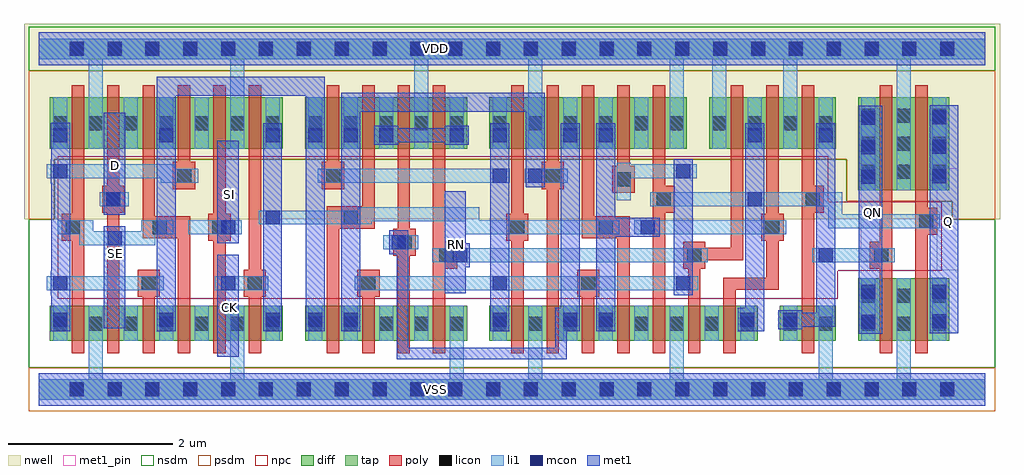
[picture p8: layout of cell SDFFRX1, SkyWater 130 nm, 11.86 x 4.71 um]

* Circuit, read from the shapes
.subckt SDFFRX1 CK D Q QN RN SE SI VDD VSS
XM1 VSS SE n1 VSS sky130_fd_pr__nfet_01v8 w=0.425 l=0.15
XM2 n2 D VSS VSS sky130_fd_pr__nfet_01v8 w=0.425 l=0.15
XM3 n3 n1 n2 VSS sky130_fd_pr__nfet_01v8 w=0.425 l=0.15
XM4 n4 SE n3 VSS sky130_fd_pr__nfet_01v8 w=0.425 l=0.15
XM5 VSS SI n4 VSS sky130_fd_pr__nfet_01v8 w=0.425 l=0.15
XM6 n5 CK VSS VSS sky130_fd_pr__nfet_01v8 w=0.425 l=0.15
XM7 n6 n5 n3 VSS sky130_fd_pr__nfet_01v8 w=0.425 l=0.15
XM8 n7 n8 n6 VSS sky130_fd_pr__nfet_01v8 w=0.425 l=0.15
XM9 n9 n10 n7 VSS sky130_fd_pr__nfet_01v8 w=0.425 l=0.15
XM10 VSS RN n9 VSS sky130_fd_pr__nfet_01v8 w=0.425 l=0.15
XM11 VSS n5 n8 VSS sky130_fd_pr__nfet_01v8 w=0.425 l=0.15
XM12 n10 n6 VSS VSS sky130_fd_pr__nfet_01v8 w=0.425 l=0.15
XM13 n11 n8 n10 VSS sky130_fd_pr__nfet_01v8 w=0.425 l=0.15
XM14 n12 n5 n11 VSS sky130_fd_pr__nfet_01v8 w=0.425 l=0.15
XM15 VSS n13 n12 VSS sky130_fd_pr__nfet_01v8 w=0.425 l=0.15
XM16 n14 RN VSS VSS sky130_fd_pr__nfet_01v8 w=0.425 l=0.15
XM17 n13 n11 n14 VSS sky130_fd_pr__nfet_01v8 w=0.425 l=0.15
XM18 VSS n13 n15 VSS sky130_fd_pr__nfet_01v8 w=0.425 l=0.15
XM19 VSS n15 QN VSS sky130_fd_pr__nfet_01v8 w=0.76 l=0.15
XM20 Q n13 VSS VSS sky130_fd_pr__nfet_01v8 w=0.76 l=0.15
XM21 VDD SE n1 VDD sky130_fd_pr__pfet_01v8 w=0.625 l=0.15
XM22 n16 D VDD VDD sky130_fd_pr__pfet_01v8 w=0.625 l=0.15
XM23 n3 SE n16 VDD sky130_fd_pr__pfet_01v8 w=0.625 l=0.15
XM24 n17 n1 n3 VDD sky130_fd_pr__pfet_01v8 w=0.625 l=0.15
XM25 VDD SI n17 VDD sky130_fd_pr__pfet_01v8 w=0.625 l=0.15
XM26 n5 CK VDD VDD sky130_fd_pr__pfet_01v8 w=0.625 l=0.15
XM27 n6 n8 n3 VDD sky130_fd_pr__pfet_01v8 w=0.625 l=0.15
XM28 n18 n5 n6 VDD sky130_fd_pr__pfet_01v8 w=0.625 l=0.15
XM29 VDD n10 n18 VDD sky130_fd_pr__pfet_01v8 w=0.625 l=0.15
XM30 n18 RN VDD VDD sky130_fd_pr__pfet_01v8 w=0.625 l=0.15
XM31 VDD n5 n8 VDD sky130_fd_pr__pfet_01v8 w=0.625 l=0.15
XM32 n10 n6 VDD VDD sky130_fd_pr__pfet_01v8 w=0.625 l=0.15
XM33 n11 n5 n10 VDD sky130_fd_pr__pfet_01v8 w=0.625 l=0.15
XM34 n19 n8 n11 VDD sky130_fd_pr__pfet_01v8 w=0.625 l=0.15
XM35 VDD n13 n19 VDD sky130_fd_pr__pfet_01v8 w=0.625 l=0.15
XM36 n13 RN VDD VDD sky130_fd_pr__pfet_01v8 w=0.625 l=0.15
XM37 VDD n11 n13 VDD sky130_fd_pr__pfet_01v8 w=0.625 l=0.15
XM38 n15 n13 VDD VDD sky130_fd_pr__pfet_01v8 w=0.625 l=0.15
XM39 VDD n15 QN VDD sky130_fd_pr__pfet_01v8 w=1.13 l=0.15
XM40 Q n13 VDD VDD sky130_fd_pr__pfet_01v8 w=1.13 l=0.15
.ends

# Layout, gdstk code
from math import pi, radians
import gdstk
lib = gdstk.Library(unit=1e-6, precision=1e-09)
def R(c, l, rs):  # rectangles x0, y0, x1, y1
    for r in rs: c.add(gdstk.rectangle(r[:2], r[2:], *l))
def A(c, l, x, y, w, h, nx, ny, dx, dy):  # array of equal rectangles
    R(c, l, [(x+i*dx, y+j*dy, x+i*dx+w, y+j*dy+h) for i in range(nx) for j in range(ny)])
def P(c, l, *ps):  # polygons
    for p in ps: c.add(gdstk.Polygon(p, *l))
nwell = (64, 20)
diff = (65, 20)
tap = (65, 44)
poly = (66, 20)
licon = (66, 44)
li1 = (67, 20)
mcon = (67, 44)
met1_pin = (68, 16)
met1 = (68, 20)
nsdm = (93, 44)
psdm = (94, 20)
npc = (95, 20)

pyl1con_c_cdns_751554744 = lib.new_cell('PYL1CON_C_CDNS_751554744754')
R(pyl1con_c_cdns_751554744, poly, [(-0.135,-0.29,0.135,0.29)])
R(pyl1con_c_cdns_751554744, licon, [(-0.085,-0.085,0.085,0.085)])
R(pyl1con_c_cdns_751554744, npc, [(-0.185,-0.185,0.185,0.185)])

c_pyl1con_c_cdns_751554744 = lib.new_cell('PYL1CON_C_CDNS_7515547447521')
R(c_pyl1con_c_cdns_751554744, poly, [(-0.135,-0.37,0.135,0.21)])
R(c_pyl1con_c_cdns_751554744, licon, [(-0.085,-0.085,0.085,0.085)])
R(c_pyl1con_c_cdns_751554744, npc, [(-0.185,-0.185,0.185,0.185)])

c_pyl1con_c_cdns_751554744_ = lib.new_cell('PYL1CON_C_CDNS_751554744751')
R(c_pyl1con_c_cdns_751554744_, poly, [(-0.135,-0.165,0.135,0.165)])
R(c_pyl1con_c_cdns_751554744_, licon, [(-0.085,-0.085,0.085,0.085)])
R(c_pyl1con_c_cdns_751554744_, npc, [(-0.185,-0.185,0.185,0.185)])

licondiff_c_cdns_7515547 = lib.new_cell('LICONDIFF_C_CDNS_751554744755')
R(licondiff_c_cdns_7515547, diff, [(-0.125,-0.145,0.125,0.145)])
R(licondiff_c_cdns_7515547, licon, [(-0.085,-0.085,0.085,0.085), (-0.085,-0.085,0.085,0.085)])

sdffrx1 = lib.new_cell('SDFFRX1')
R(sdffrx1, nwell, [(-0.18,2.07,11.68,4.445)])
R(sdffrx1, diff, [(0.135,0.59,2.965,1.015), (3.235,0.59,5.205,1.015), (5.475,0.59,8.735,1.015), (9.005,0.59,9.685,1.015), (9.955,0.59,11.065,1.35), (9.955,2.42,11.065,3.55), (0.135,2.925,2.965,3.55), (3.235,2.925,5.205,3.55), (5.475,2.925,7.875,3.55), (8.145,2.925,9.685,3.55)])
A(sdffrx1, poly, 1.26, 0.44, 0.15, 0.725, 3, 1, 2.67, 0)
R(sdffrx1, poly, [(0.4,0.44,0.55,3.7), (0.83,0.44,0.98,3.7), (2.12,0.44,2.27,3.7), (2.55,0.44,2.7,3.7), (4.36,0.44,4.51,3.7), (4.79,0.44,4.94,3.7), (5.74,0.44,5.89,3.7), (6.17,0.44,6.32,3.7), (7.46,0.44,7.61,3.7), (9.27,0.44,9.42,3.7), (10.22,0.44,10.37,3.7), (10.65,0.44,10.8,3.7), (7.03,2.705,7.18,3.7), (3.5,2.725,3.65,3.7), (1.69,2.755,1.84,3.7)])
P(sdffrx1, poly, [(3.5,0.44),(3.5,2.165),(3.93,2.165),(3.93,3.7),(4.08,3.7),(4.08,2.015),(3.65,2.015),(3.65,0.44)],
  [(1.69,0.44),(1.69,1.895),(1.26,1.895),(1.26,3.7),(1.41,3.7),(1.41,2.045),(1.84,2.045),(1.84,0.44)],
  [(7.03,0.44),(7.03,1.895),(6.6,1.895),(6.6,3.7),(6.75,3.7),(6.75,2.045),(7.18,2.045),(7.18,0.44)],
  [(7.89,0.44),(7.89,1.72),(8.41,1.72),(8.41,3.7),(8.56,3.7),(8.56,1.57),(8.04,1.57),(8.04,0.44)],
  [(8.32,0.44),(8.32,1.36),(8.84,1.36),(8.84,3.7),(8.99,3.7),(8.99,1.21),(8.47,1.21),(8.47,0.44)])
A(sdffrx1, licon, 0.375, -0.085, 0.17, 0.17, 24, 2, 0.46, 4.14)
A(sdffrx1, licon, 0.175, 0.715, 0.17, 0.17, 7, 1, 0.43, 0)
A(sdffrx1, licon, 3.275, 0.715, 0.17, 0.17, 5, 2, 0.43, 2.435)
A(sdffrx1, licon, 5.515, 0.715, 0.17, 0.17, 6, 1, 0.43, 0)
A(sdffrx1, licon, 9.995, 0.715, 0.17, 0.17, 3, 2, 0.43, 0.34)
A(sdffrx1, licon, 9.995, 2.56, 0.17, 0.17, 3, 3, 0.43, 0.34)
A(sdffrx1, licon, 0.605, 3.15, 0.17, 0.17, 3, 1, 0.86, 0)
A(sdffrx1, licon, 5.515, 3.15, 0.17, 0.17, 4, 1, 0.43, 0)
A(sdffrx1, licon, 8.185, 3.15, 0.17, 0.17, 4, 1, 0.43, 0)
R(sdffrx1, licon, [(8.525,0.715,8.695,0.885), (9.045,0.715,9.215,0.885), (9.475,0.715,9.645,0.885), (0.175,3.15,0.345,3.32), (2.755,3.15,2.925,3.32), (7.665,3.15,7.835,3.32)])
A(sdffrx1, li1, 1.035, 0.59, 0.17, 0.425, 3, 1, 0.43, 0)
A(sdffrx1, li1, 3.275, 0.59, 0.17, 0.425, 4, 1, 0.43, 0)
A(sdffrx1, li1, 6.375, 0.59, 0.17, 0.425, 3, 1, 0.43, 0)
A(sdffrx1, li1, 0.175, 0.685, 0.17, 0.33, 3, 2, 1.29, 2.24)
A(sdffrx1, li1, 0.175, 2.925, 0.17, 0.625, 3, 1, 1.29, 0)
A(sdffrx1, li1, 3.275, 2.925, 0.17, 0.625, 3, 1, 0.43, 0)
A(sdffrx1, li1, 3.275, 2.925, 0.17, 0.33, 3, 1, 0.43, 0)
R(sdffrx1, li1, [(0.175,0.59,0.345,1.015), (2.755,0.59,2.925,1.015), (5.515,0.59,5.685,1.015), (8.525,0.59,8.695,1.015), (9.045,0.59,9.215,1.015), (9.995,0.59,10.165,1.35), (10.855,0.59,11.025,1.35), (9.995,0.66,10.165,1.35), (10.855,0.665,11.025,1.355), (3.275,0.685,3.445,1.015), (3.705,0.685,3.875,1.015), (5.515,0.685,5.685,1.015), (6.375,0.685,6.545,1.015), (6.805,0.685,6.975,1.015), (8.525,0.685,8.695,1.015), (9.045,0.685,9.215,1.015), (0.095,1.205,0.425,1.375), (2.135,1.205,2.465,1.375), (5.435,1.205,5.765,1.375), (7.665,1.205,7.995,1.375), (4.955,1.545,5.285,1.715), (9.4,1.545,9.73,1.715), (4.29,1.705,4.46,1.875), (0.755,1.755,1.085,1.925), (2.135,1.885,2.465,2.055), (7.235,1.885,7.565,2.055), (2.675,2.005,3.005,2.175), (0.74,2.225,1.07,2.395), (8.535,2.225,8.865,2.395), (9.995,2.42,10.165,3.55), (9.995,2.42,10.165,3.47), (10.855,2.42,11.025,3.55), (10.855,2.425,11.025,3.475), (5.475,2.515,5.725,2.685), (5.905,2.515,6.155,2.685), (0.095,2.565,0.425,2.735), (7.665,2.565,7.995,2.735), (4.995,2.925,5.165,3.55), (4.995,2.925,5.165,3.255), (5.515,2.925,5.685,3.55), (5.515,2.925,5.685,3.255), (6.375,2.925,6.545,3.55), (6.375,2.925,6.545,3.255), (6.805,2.925,6.975,3.55), (6.805,2.925,6.975,3.255), (8.615,2.925,8.785,3.55), (8.615,2.925,8.785,3.255), (9.475,2.925,9.645,3.55), (9.48,2.925,9.65,3.255)])
P(sdffrx1, li1, [(5.18,1.885),(5.18,2.045),(4.045,2.045),(4.045,2.005),(2.675,2.005),(2.675,2.175),(3.875,2.175),(3.875,2.215),(5.35,2.215),(5.35,2.055),(7.055,2.055),(7.055,1.885)],
  [(7.02,2.3),(7.02,2.755),(7.19,2.755),(7.19,2.735),(7.98,2.735),(7.98,2.565),(7.19,2.565),(7.19,2.3)],
  [(1.48,2.515),(1.48,2.565),(0.095,2.565),(0.095,2.735),(1.65,2.735),(1.65,2.685),(1.935,2.685),(1.935,2.515)],
  [(10.425,2.42),(10.425,4.015),(9.215,4.015),(9.215,2.925),(9.045,2.925),(9.045,4.015),(8.355,4.015),(8.355,2.925),(8.185,2.925),(8.185,4.015),(7.835,4.015),(7.835,2.925),(7.665,2.925),(7.665,4.015),(6.115,4.015),(6.115,2.925),(5.945,2.925),(5.945,4.015),(4.735,4.015),(4.735,2.925),(4.565,2.925),(4.565,4.015),(2.495,4.015),(2.495,2.925),(2.325,2.925),(2.325,4.015),(0.775,4.015),(0.775,2.925),(0.605,2.925),(0.605,4.015),(0,4.015),(0,4.265),(11.5,4.265),(11.5,4.015),(10.595,4.015),(10.595,2.42)],
  [(9.595,1.96),(9.595,2.225),(7.43,2.225),(7.43,2.395),(9.765,2.395),(9.765,2.13),(10.95,2.13),(10.95,1.96)],
  [(0,-0.125),(0,0.125),(0.605,0.125),(0.605,1.015),(0.775,1.015),(0.775,0.125),(2.325,0.125),(2.325,1.015),(2.495,1.015),(2.495,0.125),(4.995,0.125),(4.995,1.015),(5.165,1.015),(5.165,0.125),(5.945,0.125),(5.945,1.015),(6.115,1.015),(6.115,0.125),(7.665,0.125),(7.665,1.015),(7.835,1.015),(7.835,0.125),(9.475,0.125),(9.475,1.015),(9.645,1.015),(9.645,0.125),(10.425,0.125),(10.425,1.35),(10.595,1.35),(10.595,0.125),(11.5,0.125),(11.5,-0.125)])
A(sdffrx1, mcon, 0.375, -0.085, 0.17, 0.17, 24, 2, 0.46, 4.14)
A(sdffrx1, mcon, 0.175, 0.765, 0.17, 0.17, 3, 2, 1.29, 2.24)
A(sdffrx1, mcon, 9.995, 2.5, 0.17, 0.17, 1, 3, 0, 0.36)
A(sdffrx1, mcon, 10.855, 2.505, 0.17, 0.17, 1, 3, 0, 0.36)
A(sdffrx1, mcon, 3.275, 3.005, 0.17, 0.17, 3, 1, 0.43, 0)
R(sdffrx1, mcon, [(9.995,0.74,10.165,0.91), (10.855,0.745,11.025,0.915), (3.275,0.765,3.445,0.935), (3.705,0.765,3.875,0.935), (5.515,0.765,5.685,0.935), (6.375,0.765,6.545,0.935), (6.805,0.765,6.975,0.935), (8.525,0.765,8.695,0.935), (9.045,0.765,9.215,0.935), (9.995,1.1,10.165,1.27), (10.855,1.105,11.025,1.275), (0.175,1.205,0.345,1.375), (2.215,1.205,2.385,1.375), (5.515,1.205,5.685,1.375), (7.745,1.205,7.915,1.375), (5.035,1.545,5.205,1.715), (9.48,1.545,9.65,1.715), (4.29,1.705,4.46,1.875), (0.835,1.755,1.005,1.925), (2.215,1.885,2.385,2.055), (7.315,1.885,7.485,2.055), (2.755,2.005,2.925,2.175), (0.82,2.225,0.99,2.395), (8.615,2.225,8.785,2.395), (5.515,2.515,5.685,2.685), (5.945,2.515,6.115,2.685), (0.175,2.565,0.345,2.735), (7.745,2.565,7.915,2.735), (4.995,3.005,5.165,3.175), (5.515,3.005,5.685,3.175), (6.375,3.005,6.545,3.175), (6.805,3.005,6.975,3.175), (8.615,3.005,8.785,3.175), (9.48,3.005,9.65,3.175)])
R(sdffrx1, met1_pin, [(2.17,0.4,2.43,1.64), (0.79,0.745,1.05,1.985), (4.93,1.17,5.19,2.41), (10.91,1.45,11.17,2.69), (9.99,1.56,10.25,2.8), (2.17,1.78,2.43,3.02), (0.79,2.125,1.05,3.365)])
A(sdffrx1, met1, 0.145, 0.705, 0.23, 0.29, 3, 2, 1.29, 2.24)
R(sdffrx1, met1, [(9.965,0.68,10.25,3.45), (9.965,0.68,10.195,1.33), (10.825,0.685,11.055,1.335), (3.245,0.705,3.475,0.995), (3.675,0.705,3.905,0.995), (5.485,0.705,5.715,0.995), (6.345,0.705,6.575,0.995), (6.775,0.705,7.005,0.995), (8.495,0.705,8.725,0.995), (8.985,0.735,9.275,0.965), (0.145,1.145,0.375,1.435), (2.185,1.145,2.415,1.435), (5.485,1.145,5.715,1.435), (7.715,1.145,7.945,1.435), (5.005,1.485,5.235,1.775), (9.45,1.485,9.68,1.775), (4.26,1.645,4.49,1.935), (0.805,1.695,1.035,1.985), (2.185,1.825,2.415,2.115), (7.255,1.855,7.545,2.085), (2.725,1.945,2.955,2.235), (0.79,2.165,1.02,2.455), (8.585,2.165,8.815,2.455), (9.965,2.44,10.195,3.45), (10.825,2.445,11.055,3.455), (5.485,2.455,5.715,2.745), (5.915,2.455,6.145,2.745), (0.145,2.505,0.375,2.795), (7.715,2.505,7.945,2.795), (3.245,2.945,3.475,3.235), (3.675,2.945,3.905,3.235), (5.485,2.945,5.715,3.235), (6.345,2.945,6.575,3.235), (6.775,2.945,7.005,3.235), (8.585,2.945,8.815,3.235), (9.45,2.945,9.68,3.235), (4.075,2.975,4.365,3.205), (4.935,2.975,5.225,3.205)])
P(sdffrx1, met1, [(4.35,0.365),(4.35,1.655),(4.49,1.655),(4.49,0.505),(6.275,0.505),(6.275,0.995),(6.345,0.995),(6.345,3.235),(6.575,3.235),(6.575,0.705),(6.415,0.705),(6.415,0.365)],
  [(6.775,0.705),(6.775,3.235),(7.005,3.235),(7.005,2.085),(7.545,2.085),(7.545,1.855),(7.005,1.855),(7.005,0.705)],
  [(9.13,0.765),(9.13,0.935),(9.45,0.935),(9.45,3.235),(9.68,3.235),(9.68,0.765)],
  [(10.91,0.685),(10.91,0.69),(10.825,0.69),(10.825,3.455),(11.17,3.455),(11.17,0.685)])
R(sdffrx1, nsdm, [(-0.125,3.875,11.625,4.405)])
P(sdffrx1, nsdm, [(-0.125,0.265),(-0.125,2.07),(0.19,2.07),(0.19,2.795),(9.815,2.795),(9.815,2.29),(11.1,2.29),(11.1,2.07),(11.625,2.07),(11.625,0.265)])
R(sdffrx1, psdm, [(-0.125,-0.265,11.625,0.265)])
P(sdffrx1, psdm, [(-0.125,2.07),(-0.125,3.875),(11.625,3.875),(11.625,2.07),(11.1,2.07),(11.1,2.29),(9.815,2.29),(9.815,2.795),(0.19,2.795),(0.19,2.07)])
P(sdffrx1, npc, [(0.23,1.105),(0.23,2.835),(9.59,2.835),(9.59,2.28),(10.97,2.28),(10.97,1.445),(9.71,1.445),(9.71,1.105)])
sdffrx1.add(gdstk.FlexPath([(0.23,1.97),(0.575,1.97),(0.575,1.84),(1.33,1.84),(1.33,1.97),(1.635,1.97)], 0.17, ends="flush", simple_path=True, layer=67, datatype=20))  # li1
sdffrx1.add(gdstk.FlexPath([(1.09,2.31),(0.74,2.31)], 0.17, ends="flush", simple_path=True, layer=67, datatype=20))  # li1
sdffrx1.add(gdstk.FlexPath([(0.095,1.29),(1.52,1.29)], 0.17, ends="flush", simple_path=True, layer=67, datatype=20))  # li1
sdffrx1.add(gdstk.FlexPath([(9.42,1.63),(10.4,1.63)], 0.17, ends="flush", simple_path=True, layer=67, datatype=20))  # li1
sdffrx1.add(gdstk.FlexPath([(3.39,2.6),(5.725,2.6)], 0.17, ends="flush", simple_path=True, layer=67, datatype=20))  # li1
sdffrx1.add(gdstk.FlexPath([(1.12,2.925),(1.12,3.55)], 0.17, ends="flush", simple_path=True, layer=67, datatype=20))  # li1
sdffrx1.add(gdstk.FlexPath([(1.98,2.925),(1.98,3.55)], 0.17, ends="flush", simple_path=True, layer=67, datatype=20))  # li1
sdffrx1.add(gdstk.FlexPath([(7.32,2.925),(7.32,3.55)], 0.17, ends="flush", simple_path=True, layer=67, datatype=20))  # li1
sdffrx1.add(gdstk.FlexPath([(2.79,1.29),(2.245,1.29)], 0.17, ends="flush", simple_path=True, layer=67, datatype=20))  # li1
sdffrx1.add(gdstk.FlexPath([(2.36,1.97),(1.815,1.97)], 0.17, ends="flush", simple_path=True, layer=67, datatype=20))  # li1
sdffrx1.add(gdstk.FlexPath([(8.18,0.59),(8.18,1.015)], 0.17, ends="flush", simple_path=True, layer=67, datatype=20))  # li1
sdffrx1.add(gdstk.FlexPath([(3.84,1.29),(8.015,1.29)], 0.17, ends="flush", simple_path=True, layer=67, datatype=20))  # li1
sdffrx1.add(gdstk.FlexPath([(4.61,1.79),(4.185,1.79)], 0.17, ends="flush", simple_path=True, layer=67, datatype=20))  # li1
sdffrx1.add(gdstk.FlexPath([(7.235,1.97),(9.08,1.97)], 0.17, ends="flush", simple_path=True, layer=67, datatype=20))  # li1
sdffrx1.add(gdstk.FlexPath([(5.905,2.6),(6.43,2.6)], 0.17, ends="flush", simple_path=True, layer=67, datatype=20))  # li1
sdffrx1.add(gdstk.FlexPath([(4.78,1.63),(8.13,1.63)], 0.17, ends="flush", simple_path=True, layer=67, datatype=20))  # li1
sdffrx1.add(gdstk.FlexPath([(1.55,0.705),(1.55,3.685),(3.36,3.685),(3.36,0.705)], 0.23, ends="flush", simple_path=True, layer=68, datatype=20))  # met1
sdffrx1.add(gdstk.FlexPath([(7.83,1.145),(7.83,2.795)], 0.23, ends="flush", simple_path=True, layer=68, datatype=20))  # met1
sdffrx1.add(gdstk.FlexPath([(0,0),(11.5,0)], 0.4, ends="flush", simple_path=True, layer=68, datatype=20))  # met1
sdffrx1.add(gdstk.FlexPath([(0,4.14),(11.5,4.14)], 0.4, ends="flush", simple_path=True, layer=68, datatype=20))  # met1
sdffrx1.add(gdstk.FlexPath([(2.3,0.4),(2.3,1.64)], 0.26, ends="flush", simple_path=True, layer=68, datatype=20))  # met1
sdffrx1.add(gdstk.FlexPath([(0.92,0.745),(0.92,1.985)], 0.26, ends="flush", simple_path=True, layer=68, datatype=20))  # met1
sdffrx1.add(gdstk.FlexPath([(5.06,1.17),(5.06,2.41)], 0.26, ends="flush", simple_path=True, layer=68, datatype=20))  # met1
sdffrx1.add(gdstk.FlexPath([(2.3,1.78),(2.3,3.02)], 0.26, ends="flush", simple_path=True, layer=68, datatype=20))  # met1
sdffrx1.add(gdstk.FlexPath([(0.92,2.125),(0.92,3.365)], 0.26, ends="flush", simple_path=True, layer=68, datatype=20))  # met1
sdffrx1.add(gdstk.FlexPath([(3.79,0.705),(3.79,3.49),(6.03,3.49),(6.03,2.475)], 0.23, ends="flush", simple_path=True, layer=68, datatype=20))  # met1
sdffrx1.add(gdstk.FlexPath([(2.84,0.705),(2.84,3.235)], 0.23, ends="flush", simple_path=True, layer=68, datatype=20))  # met1
sdffrx1.add(gdstk.FlexPath([(5.6,0.705),(5.6,3.235)], 0.23, ends="flush", simple_path=True, layer=68, datatype=20))  # met1
sdffrx1.add(gdstk.FlexPath([(8.7,0.705),(8.7,3.235)], 0.23, ends="flush", simple_path=True, layer=68, datatype=20))  # met1
sdffrx1.add(gdstk.FlexPath([(0.265,0.71),(0.265,3.24)], 0.23, ends="flush", simple_path=True, layer=68, datatype=20))  # met1
sdffrx1.add(gdstk.FlexPath([(4.075,3.09),(5.225,3.09)], 0.17, ends="flush", simple_path=True, layer=68, datatype=20))  # met1
sdffrx1.add(gdstk.FlexPath([(0,0),(11.5,0)], 0.25, ends="flush", simple_path=True, layer=65, datatype=44))  # tap
sdffrx1.add(gdstk.FlexPath([(0,4.14),(11.5,4.14)], 0.25, ends="flush", simple_path=True, layer=65, datatype=44))  # tap
sdffrx1.add(gdstk.FlexPath([(0,0),(11.5,0)], 0.4, ends="flush", simple_path=True, layer=68, datatype=16))  # met1_pin
sdffrx1.add(gdstk.FlexPath([(0,4.14),(11.5,4.14)], 0.4, ends="flush", simple_path=True, layer=68, datatype=16))  # met1_pin
sdffrx1.add(gdstk.Reference(pyl1con_c_cdns_751554744, (6.89,1.97), rotation=pi/2))
sdffrx1.add(gdstk.Reference(c_pyl1con_c_cdns_751554744, (1.47,1.97), rotation=pi/2))
sdffrx1.add(gdstk.Reference(c_pyl1con_c_cdns_751554744_, (4.445,1.79)))
sdffrx1.add(gdstk.Reference(c_pyl1con_c_cdns_751554744_, (0.415,1.97)))
sdffrx1.add(gdstk.Reference(c_pyl1con_c_cdns_751554744_, (0.905,2.31)))
sdffrx1.add(gdstk.Reference(c_pyl1con_c_cdns_751554744_, (4.005,1.29), rotation=pi))
sdffrx1.add(gdstk.Reference(c_pyl1con_c_cdns_751554744_, (9.405,2.31), rotation=pi))
sdffrx1.add(gdstk.Reference(c_pyl1con_c_cdns_751554744_, (7.105,2.555), rotation=pi))
sdffrx1.add(gdstk.Reference(c_pyl1con_c_cdns_751554744_, (1.765,2.6), rotation=pi))
sdffrx1.add(gdstk.Reference(c_pyl1con_c_cdns_751554744_, (6.245,2.6), rotation=pi))
sdffrx1.add(gdstk.Reference(c_pyl1con_c_cdns_751554744_, (1.335,1.29), x_reflection=True))
sdffrx1.add(gdstk.Reference(c_pyl1con_c_cdns_751554744_, (2.625,1.29), x_reflection=True))
sdffrx1.add(gdstk.Reference(c_pyl1con_c_cdns_751554744_, (6.675,1.29), x_reflection=True))
sdffrx1.add(gdstk.Reference(c_pyl1con_c_cdns_751554744_, (2.195,1.97), x_reflection=True))
sdffrx1.add(gdstk.Reference(c_pyl1con_c_cdns_751554744_, (5.815,1.97), x_reflection=True))
sdffrx1.add(gdstk.Reference(c_pyl1con_c_cdns_751554744_, (3.575,2.6), x_reflection=True))
sdffrx1.add(gdstk.Reference(c_pyl1con_c_cdns_751554744_, (4.95,1.63), rotation=pi, x_reflection=True))
sdffrx1.add(gdstk.Reference(c_pyl1con_c_cdns_751554744_, (7.965,1.63), rotation=pi, x_reflection=True))
sdffrx1.add(gdstk.Reference(c_pyl1con_c_cdns_751554744_, (10.235,1.63), rotation=pi, x_reflection=True))
sdffrx1.add(gdstk.Reference(c_pyl1con_c_cdns_751554744_, (8.915,1.97), rotation=pi, x_reflection=True))
sdffrx1.add(gdstk.Reference(c_pyl1con_c_cdns_751554744_, (10.785,2.045), rotation=pi, x_reflection=True))
sdffrx1.add(gdstk.Reference(c_pyl1con_c_cdns_751554744_, (7.595,2.31), rotation=pi, x_reflection=True))
sdffrx1.add(gdstk.Reference(pyl1con_c_cdns_751554744, (3.79,2.09), rotation=pi/2, x_reflection=True))
sdffrx1.add(gdstk.Reference(licondiff_c_cdns_7515547, (1.12,0.8)))
sdffrx1.add(gdstk.Reference(licondiff_c_cdns_7515547, (1.98,0.8)))
sdffrx1.add(gdstk.Reference(licondiff_c_cdns_7515547, (4.22,0.8)))
sdffrx1.add(gdstk.Reference(licondiff_c_cdns_7515547, (4.65,0.8)))
sdffrx1.add(gdstk.Reference(licondiff_c_cdns_7515547, (7.32,0.8)))
sdffrx1.add(gdstk.Reference(licondiff_c_cdns_7515547, (8.18,0.8)))
sdffrx1.add(gdstk.Reference(licondiff_c_cdns_7515547, (1.12,3.235)))
sdffrx1.add(gdstk.Reference(licondiff_c_cdns_7515547, (1.98,3.235)))
sdffrx1.add(gdstk.Reference(licondiff_c_cdns_7515547, (7.32,3.235)))
sdffrx1.add(gdstk.Label('VDD', (4.825,4.145), layer=68, texttype=5))
sdffrx1.add(gdstk.Label('VSS', (4.825,0.005), layer=68, texttype=5))
sdffrx1.add(gdstk.Label('QN', (10.135,2.155), layer=68, texttype=5))
sdffrx1.add(gdstk.Label('Q', (11.055,2.045), layer=68, texttype=5))
sdffrx1.add(gdstk.Label('RN', (5.075,1.765), layer=68, texttype=5))
sdffrx1.add(gdstk.Label('SE', (0.935,1.65), layer=68, texttype=5))
sdffrx1.add(gdstk.Label('SI', (2.315,2.375), layer=68, texttype=5))
sdffrx1.add(gdstk.Label('CK', (2.315,0.995), layer=68, texttype=5))
sdffrx1.add(gdstk.Label('D', (0.935,2.72), layer=68, texttype=5))

lib.write_gds('SDFFRX1.gds')
